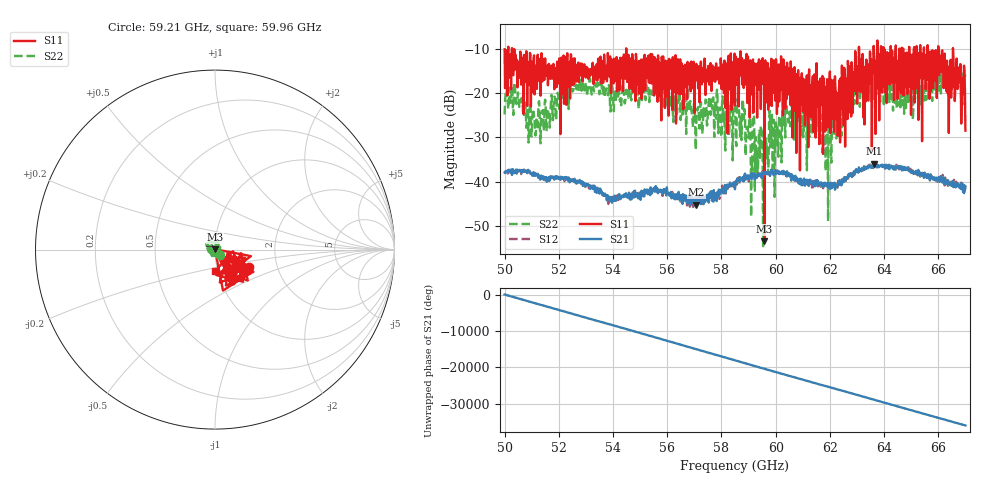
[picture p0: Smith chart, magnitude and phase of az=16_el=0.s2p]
!Created with skrf (http://scikit-rf.org).
# GHz S RI R 50.0
!freq ReS11 ImS11 ReS21 ImS21 ReS12 ImS12 ReS22 ImS22
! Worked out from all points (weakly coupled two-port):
!   1001 points, 50 GHz to 67 GHz, reference 50 ohm
!   highest |S21| = -35.94 dB at 63.63 GHz (marker M1); lowest = -45.3 dB at 57.07 GHz (marker M2)
!   lowest |S11| = -53.6 dB at 59.59 GHz (marker M3), VSWR 1.00, Z = 50 + j0.209 ohm
!   |S11| at or under -10 dB: 50.36 GHz to 54.49 GHz (4.13 GHz wide, 7.88 % of centre); 54.49 GHz to 63.07 GHz (8.582 GHz wide, 14.6 % of centre); 63.08 GHz to 63.61 GHz (538.2 MHz wide, 0.85 % of centre) (the widest 3 of 23)
!   |S22| runs from -54.7 to -13.9 dB; largest |S21 - S12| = 0.002
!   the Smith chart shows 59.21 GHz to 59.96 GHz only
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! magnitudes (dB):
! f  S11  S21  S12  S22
! 50 GHz  -10.0  -37.9  -37.9  -24.8
! 50.42 GHz  -14.0  -37.3  -37.9  -22.0
! 51.38 GHz  -16.9  -39.4  -39.0  -24.3
! 52.84 GHz  -14.2  -40.5  -40.3  -19.4
! 53.96 GHz  -14.8  -44.8  -44.1  -18.4
! 55.68 GHz  -13.4  -42.2  -42.3  -22.3
! 57.07 GHz  -13.3  -45.3  -45.7  -27.1
! 58.5 GHz  -22.8  -41.8  -40.7  -24.8
! 58.79 GHz  -13.7  -39.8  -39.2  -21.3
! 59.04 GHz  -25.5  -38.9  -39.1  -24.0
! 59.59 GHz  -53.6  -37.8  -37.5  -29.8
! 60.34 GHz  -13.9  -38.3  -37.9  -24.9
! 61.34 GHz  -24.7  -40.2  -41.1  -25.8
! 62 GHz  -15.0  -41.0  -40.7  -25.4
! 62.55 GHz  -14.8  -39.0  -39.0  -19.6
! 63.01 GHz  -22.3  -37.7  -37.8  -19.9
! 63.63 GHz  -12.6  -35.9  -36.4  -16.3
! 64.18 GHz  -17.8  -36.2  -36.8  -18.5
! 66.08 GHz  -14.8  -39.4  -38.8  -15.5
! 66.42 GHz  -15.5  -40.7  -40.5  -16.3
! 66.75 GHz  -17.6  -40.8  -40.7  -18.3
! 67 GHz  -28.5  -41.1  -41.9  -15.7
